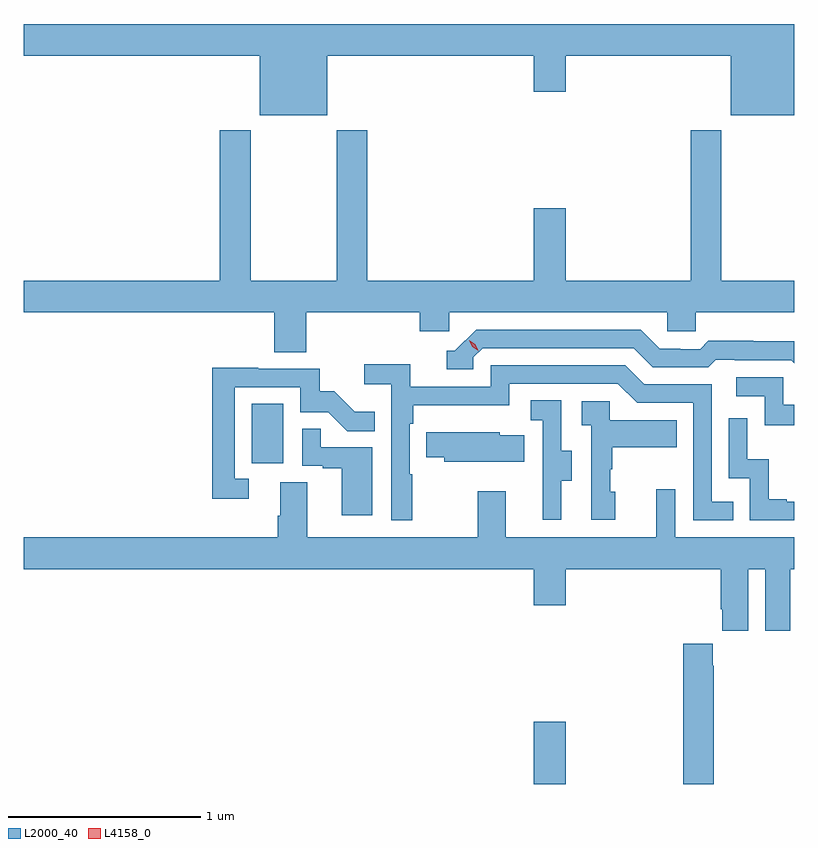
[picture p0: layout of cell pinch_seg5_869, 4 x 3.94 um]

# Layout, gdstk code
import gdstk
lib = gdstk.Library(unit=1e-6, precision=1e-09)
def R(c, l, rs):  # rectangles x0, y0, x1, y1
    for r in rs: c.add(gdstk.rectangle(r[:2], r[2:], *l))
def P(c, l, *ps):  # polygons
    for p in ps: c.add(gdstk.Polygon(p, *l))
L2000_40 = (2000, 40)
L4158_0 = (4158, 0)

pinch_seg5_869 = lib.new_cell('pinch_seg5_869')
R(pinch_seg5_869, L2000_40, [(884.288,890.277,884.452,890.599), (882.824,891.942,882.988,892.249)])
P(pinch_seg5_869, L2000_40, [(883.216,894.056),(884.288,894.056),(884.288,893.868),(884.452,893.868),(884.452,894.056),(885.308,894.056),(885.308,893.747),(885.64,893.747),(885.64,894.22),(881.64,894.22),(881.64,894.056),(882.866,894.056),(882.866,893.747),(883.216,893.747)],
  [(883.106,892.724),(883.697,892.724),(883.697,892.626),(883.848,892.626),(883.848,892.724),(884.979,892.724),(884.979,892.626),(885.129,892.626),(885.129,892.724),(885.64,892.724),(885.64,892.888),(885.261,892.888),(885.261,893.668),(885.101,893.668),(885.101,892.888),(884.452,892.888),(884.452,893.263),(884.288,893.263),(884.288,892.888),(883.424,892.888),(883.424,893.668),(883.264,893.668),(883.264,892.888),(882.819,892.888),(882.819,893.668),(882.659,893.668),(882.659,892.888),(881.64,892.888),(881.64,892.724),(882.941,892.724),(882.941,892.516),(883.106,892.516)],
  [(883.974,892.491),(884.022,892.539),(884.805,892.539),(884.904,892.44),(885.193,892.44),(885.232,892.479),(885.331,892.479),(885.331,892.476),(885.624,892.476),(885.64,892.46),(885.64,892.573),(885.426,892.573),(885.426,892.576),(885.193,892.576),(885.151,892.533),(885.048,892.533),(885.048,892.536),(884.941,892.536),(884.842,892.635),(883.989,892.635),(883.878,892.524),(883.835,892.524),(883.835,892.428),(883.974,892.428)],
  [(883.657,891.884),(883.644,891.884),(883.644,892.145),(883.661,892.145),(883.661,892.241),(884.16,892.241),(884.16,892.353),(884.724,892.353),(884.823,892.254),(885.114,892.254),(885.114,891.645),(885.323,891.645),(885.323,891.741),(885.21,891.741),(885.21,892.35),(884.86,892.35),(884.761,892.449),(884.064,892.449),(884.064,892.338),(883.646,892.338),(883.646,892.454),(883.407,892.454),(883.407,892.352),(883.548,892.352),(883.548,891.645),(883.657,891.645)],
  [(882.808,891.861),(882.735,891.861),(882.735,892.335),(883.077,892.335),(883.077,892.206),(883.221,892.206),(883.319,892.108),(883.463,892.108),(883.463,892.207),(883.359,892.207),(883.252,892.314),(883.176,892.314),(883.176,892.431),(882.857,892.431),(882.857,892.436),(882.619,892.436),(882.619,891.756),(882.808,891.756)],
  [(885.64,892.245),(885.582,892.245),(885.582,892.386),(885.339,892.386),(885.339,892.29),(885.486,892.29),(885.486,892.137),(885.64,892.137)],
  [(884.431,891.85),(884.485,891.85),(884.485,892.005),(884.43,892.005),(884.43,892.268),(884.271,892.268),(884.271,892.165),(884.334,892.165),(884.334,891.861),(884.333,891.861),(884.333,891.648),(884.431,891.648)],
  [(884.71,891.792),(884.685,891.792),(884.685,891.911),(884.695,891.911),(884.695,892.025),(885.029,892.025),(885.029,892.165),(884.682,892.165),(884.682,892.263),(884.535,892.263),(884.535,892.139),(884.586,892.139),(884.586,891.648),(884.71,891.648)],
  [(885.64,891.741),(885.601,891.741),(885.601,891.754),(885.506,891.754),(885.506,891.962),(885.396,891.962),(885.396,892.174),(885.3,892.174),(885.3,891.864),(885.408,891.864),(885.408,891.645),(885.64,891.645)],
  [(883.45,892.023),(883.181,892.023),(883.181,892.121),(883.086,892.121),(883.086,891.927),(883.193,891.927),(883.193,891.915),(883.292,891.915),(883.292,891.672),(883.45,891.672)],
  [(884.237,892.087),(884.112,892.087),(884.112,892.102),(883.84,892.102),(883.84,892.101),(883.729,892.101),(883.729,891.973),(883.823,891.973),(883.823,891.95),(884.237,891.95)],
  [(885.4,891.392),(885.488,891.392),(885.488,891.072),(885.618,891.072),(885.618,891.184),(885.619,891.184),(885.619,891.392),(885.64,891.392),(885.64,891.556),(885.021,891.556),(885.021,891.805),(884.924,891.805),(884.924,891.556),(884.143,891.556),(884.143,891.796),(883.996,891.796),(883.996,891.556),(883.111,891.556),(883.111,891.842),(882.971,891.842),(882.971,891.668),(882.959,891.668),(882.959,891.556),(881.64,891.556),(881.64,891.392),(884.288,891.392),(884.288,891.204),(884.452,891.204),(884.452,891.392),(885.257,891.392),(885.257,891.184),(885.266,891.184),(885.266,891.072),(885.4,891.072)],
  [(885.222,890.891),(885.215,890.891),(885.215,891.004),(885.062,891.004),(885.062,890.277),(885.222,890.277)])
P(pinch_seg5_869, L4158_0, [(883.999,892.526),(883.969,892.546),(883.953,892.579),(883.953,892.579),(883.953,892.579),(883.984,892.559),(883.999,892.526),(883.999,892.526)])

lib.write_gds('pinch_seg5_869.gds')
